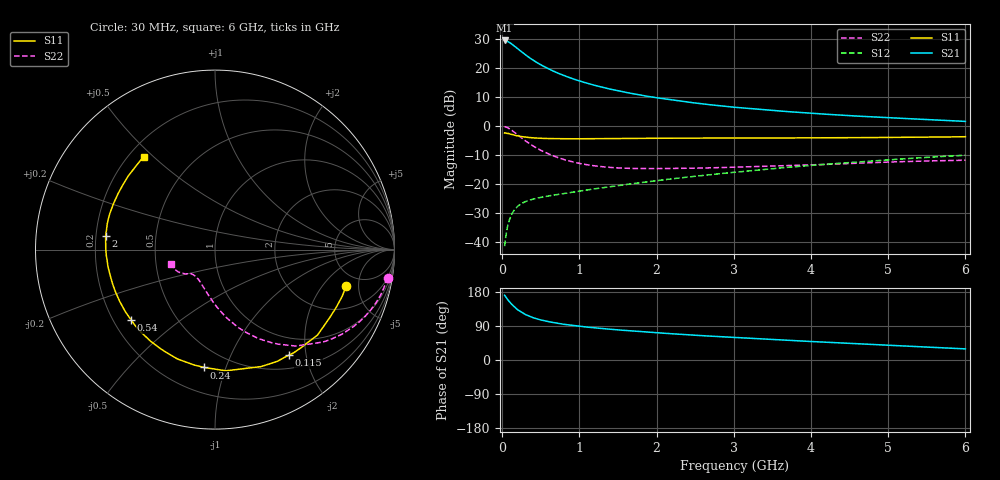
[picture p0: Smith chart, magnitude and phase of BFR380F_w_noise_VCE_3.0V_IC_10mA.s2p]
! Infineon Technologies  Discrete & RF Semiconductors
! BFR380F
! VCE =  3.0 V,  IC =  10 mA
! Common Emitter S-Parameters:  Nov 2015
# GHz  S  MA  R  50
!  f  S11  S21  S12  S22
! GHz  MAG  ANG  MAG  ANG  MAG  ANG  MAG  ANG
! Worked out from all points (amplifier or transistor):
!   206 points, 30 MHz to 6 GHz, reference 50 ohm
!   highest |S21| = 29.4 dB at 30 MHz (marker M1)
!   |S21| within 3 dB of that: start of sweep to 207.1 MHz
!   unconditionally stable (mu >= 1): 1.774 GHz to 5.069 GHz
!   at 200 MHz: K = 0.23, MSG = 27.1 dB, |S12| = -27.7 dB
!   at 1.56 GHz: K = 0.97, MSG = 16.1 dB, |S12| = -20.3 dB
!   at 6 GHz: K = 0.98, MSG = 5.8 dB, |S12| = -10.1 dB
!   lowest NFmin = 0.86 dB at 900 MHz
!   S11 on the Smith chart (normalised r, x): 30 MHz: 3.79, -3.57; 115 MHz: 0.70, -1.71; 240 MHz: 0.36, -0.84; 540 MHz: 0.27, -0.34; 2 GHz: 0.24, +0.06; 6 GHz: 0.26, +0.47
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0.03  0.7585 -15.3  29.67 171.0  0.0085 83.4  0.9743 -9.3
0.05  0.748 -25.6  29.35 164.7  0.0138 78.2  0.9567 -15.4
0.07  0.7411 -35.4  28.53 159.3  0.019 73.8  0.9305 -21.2
0.1  0.7272 -48.7  27.02 152.0  0.0258 68.1  0.882 -29.2
0.115  0.7183 -54.8  26.16 148.6  0.0288 65.6  0.8551 -32.9
0.15  0.7002 -68.6  24.21 141.2  0.0349 60.2  0.7907 -40.7
0.2  0.6778 -84.9  21.38 132.4  0.0414 54.4  0.7002 -50.1
0.24  0.6594 -95.2  19.38 127.2  0.0452 51.1  0.6361 -56.0
0.3  0.6443 -108.9  16.8 120.0  0.0498 47.4  0.5534 -63.8
0.36  0.6297 -119.1  14.72 114.8  0.0531 45.3  0.4879 -69.9
0.45  0.618 -131.3  12.31 108.3  0.0571 43.7  0.4121 -77.4
0.54  0.6098 -139.9  10.57 103.9  0.0604 43.4  0.3583 -83.2
0.6  0.6078 -145.1  9.578 100.9  0.0624 43.4  0.3282 -87.0
0.72  0.6035 -152.7  8.128 96.7  0.0662 44.3  0.2852 -93.1
1.04  0.6014 -166.4  5.737 88.2  0.077 48.0  0.2213 -106.1
1.4  0.6061 -176.2  4.303 81.1  0.0901 51.9  0.1929 -117.3
2  0.614 173.0  3.059 71.9  0.1143 56.5  0.1843 -128.4
2.02  0.614 172.7  3.033 71.7  0.1151 56.6  0.1844 -128.7
3.1  0.6194 159.6  2.05 58.6  0.164 60.1  0.1966 -137.3
4.1  0.6243 148.6  1.621 47.9  0.214 59.5  0.2155 -141.2
5.1  0.635 138.2  1.367 38.1  0.2659 57.3  0.2412 -149.6
6  0.6526 127.6  1.198 29.3  0.3133 53.5  0.257 -161.9
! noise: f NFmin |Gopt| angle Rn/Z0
0.45  0.87  0.09  98  0.09
0.9  0.86  0.18  132  0.08
1.8  1.14  0.33  166  0.08
1.9  1.23  0.34  167  0.07
2.4  1.37  0.37  -178  0.08
3.5  2  0.48  -160  0.11
